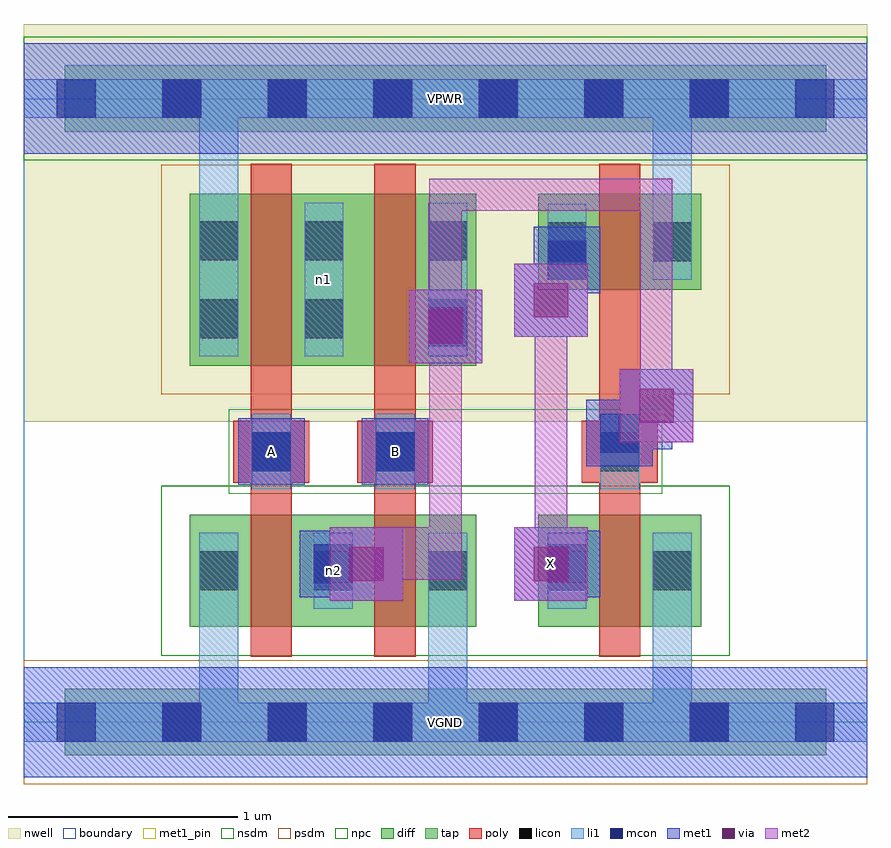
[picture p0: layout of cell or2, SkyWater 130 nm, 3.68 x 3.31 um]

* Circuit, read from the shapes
.subckt or2 A B VGND VPWR X n1 n2
XM1 n2 A VGND VGND sky130_fd_pr__nfet_01v8 w=0.49 l=0.18
XM2 VGND B n2 VGND sky130_fd_pr__nfet_01v8 w=0.49 l=0.18
XM3 VGND n2 X VGND sky130_fd_pr__nfet_01v8 w=0.49 l=0.18
XM4 n1 A VPWR VPWR sky130_fd_pr__pfet_01v8 w=0.75 l=0.18
XM5 n2 B n1 VPWR sky130_fd_pr__pfet_01v8 w=0.75 l=0.18
XM6 VPWR n2 X VPWR sky130_fd_pr__pfet_01v8 w=0.42 l=0.18
.ends

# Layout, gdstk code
import gdstk
lib = gdstk.Library(unit=1e-6, precision=1e-09)
def R(c, l, rs):  # rectangles x0, y0, x1, y1
    for r in rs: c.add(gdstk.rectangle(r[:2], r[2:], *l))
def A(c, l, x, y, w, h, nx, ny, dx, dy):  # array of equal rectangles
    R(c, l, [(x+i*dx, y+j*dy, x+i*dx+w, y+j*dy+h) for i in range(nx) for j in range(ny)])
nwell = (64, 20)
diff = (65, 20)
tap = (65, 44)
poly = (66, 20)
licon = (66, 44)
li1 = (67, 20)
mcon = (67, 44)
met1_pin = (68, 16)
met1 = (68, 20)
via = (68, 44)
met2 = (69, 20)
nsdm = (93, 44)
psdm = (94, 20)
npc = (95, 20)
boundary = (235, 4)

or2 = lib.new_cell('or2')
R(or2, nwell, [(0,1.31,3.68,3.045)])
R(or2, diff, [(0.725,0.415,1.975,0.905), (2.245,0.415,2.955,0.905), (0.725,1.555,1.975,2.305), (2.245,1.885,2.955,2.305)])
R(or2, tap, [(0.18,-0.145,3.5,0.145), (0.18,2.575,3.5,2.865)])
R(or2, poly, [(0.99,0.285,1.17,2.435), (1.53,0.285,1.71,2.435), (2.51,0.285,2.69,2.435), (0.915,1.045,1.245,1.315), (1.455,1.045,1.785,1.315), (2.435,1.045,2.765,1.315)])
A(or2, licon, 0.605, -0.085, 0.17, 0.17, 6, 2, 0.46, 2.72)
A(or2, licon, 0.765, 0.575, 0.17, 0.17, 3, 1, 0.5, 0)
R(or2, licon, [(2.285,0.575,2.455,0.745), (2.745,0.575,2.915,0.745), (0.995,1.095,1.165,1.265), (1.535,1.095,1.705,1.265), (2.515,1.095,2.685,1.265), (0.765,1.675,0.935,1.845), (1.225,1.675,1.395,1.845), (1.765,1.675,1.935,1.845), (2.285,2.01,2.455,2.18), (2.745,2.01,2.915,2.18), (0.765,2.015,0.935,2.185), (1.225,2.015,1.395,2.185), (1.765,2.015,1.935,2.185)])
A(or2, li1, 0.765, 0.495, 0.17, 0.33, 3, 1, 0.5, 0)
R(or2, li1, [(0,-0.085,3.68,0.085), (0.765,-0.085,0.935,0.825), (1.765,-0.085,1.935,0.825), (2.745,-0.085,2.915,0.825), (2.285,0.495,2.455,0.825), (2.745,0.495,2.915,0.825), (0.995,1.015,1.165,1.345), (1.535,1.015,1.705,1.345), (2.515,1.015,2.685,1.345), (0.765,1.595,0.935,2.265), (0.765,1.595,0.935,2.805), (1.225,1.595,1.395,2.265), (1.765,1.595,1.935,2.265), (2.285,1.93,2.455,2.26), (2.745,1.93,2.915,2.26), (2.745,1.93,2.915,2.805), (0,2.635,3.68,2.805)])
A(or2, mcon, 0.145, -0.085, 0.17, 0.17, 8, 2, 0.46, 2.72)
R(or2, mcon, [(1.265,0.605,1.435,0.775), (2.285,0.605,2.455,0.775), (0.995,1.095,1.165,1.265), (1.535,1.095,1.705,1.265), (2.515,1.175,2.685,1.345), (1.765,1.64,1.935,1.81), (2.285,1.93,2.455,2.1)])
R(or2, met1_pin, [(0,-0.24,3.68,0.24), (2.14,0.53,2.46,0.85), (0.935,1.035,1.225,1.325), (1.475,1.035,1.765,1.325), (0,2.48,3.68,2.96)])
R(or2, met1, [(0,-0.24,3.68,0.24), (1.335,0.53,1.655,0.85), (2.14,0.53,2.46,0.85), (1.205,0.545,1.495,0.835), (2.225,0.545,2.515,0.835), (1.28,0.62,1.565,0.76), (2.23,0.62,2.44,0.76), (0.935,1.035,1.225,1.325), (1.475,1.035,1.765,1.325), (2.455,1.115,2.745,1.405), (2.53,1.19,2.83,1.33), (2.69,1.19,2.83,1.45), (2.6,1.22,2.92,1.54), (1.68,1.565,2,1.885), (1.705,1.58,1.995,1.87), (1.77,1.655,1.92,1.795), (2.14,1.68,2.46,2), (2.23,1.77,2.37,2.085), (2.225,1.87,2.515,2.16), (2.23,1.945,2.44,2.085), (0,2.48,3.68,2.96)])
R(or2, via, [(1.42,0.615,1.57,0.765), (2.225,0.615,2.375,0.765), (2.685,1.305,2.835,1.455), (1.765,1.65,1.915,1.8), (2.225,1.765,2.375,1.915)])
R(or2, met2, [(1.335,0.53,1.655,0.85), (2.14,0.53,2.46,0.85), (1.425,0.62,1.91,0.76), (1.655,0.62,1.77,0.85), (1.77,0.62,1.91,1.795), (2.23,0.62,2.37,1.91), (2.6,1.22,2.92,1.54), (2.69,1.31,2.83,2.37), (1.68,1.565,2,1.885), (1.77,1.655,1.91,2.37), (2.14,1.68,2.46,2), (1.77,2.23,2.83,2.37)])
R(or2, nsdm, [(0.6,0.29,3.08,1.03), (0,2.45,3.68,2.99)])
R(or2, psdm, [(0,-0.27,3.68,0.27), (0.6,1.43,3.08,2.43)])
R(or2, npc, [(0.895,0.995,2.785,1.365)])
R(or2, boundary, [(0,0,3.68,2.72)])
or2.add(gdstk.Label('n2', (1.35,0.66), layer=67, texttype=5))
or2.add(gdstk.Label('n1', (1.31,1.93), layer=67, texttype=5))
or2.add(gdstk.Label('A', (1.08,1.18), layer=68, texttype=5))
or2.add(gdstk.Label('B', (1.62,1.18), layer=68, texttype=5))
or2.add(gdstk.Label('X', (2.3,0.69), layer=68, texttype=5))
or2.add(gdstk.Label('VPWR', (1.84,2.72), layer=68, texttype=5))
or2.add(gdstk.Label('VGND', (1.84,0), layer=68, texttype=5))
or2.add(gdstk.Label('A', (1.08,1.18), layer=68, texttype=16))
or2.add(gdstk.Label('B', (1.62,1.18), layer=68, texttype=16))
or2.add(gdstk.Label('X', (2.3,0.69), layer=68, texttype=16))
or2.add(gdstk.Label('VPWR', (1.84,2.72), layer=68, texttype=16))
or2.add(gdstk.Label('VGND', (1.84,0), layer=68, texttype=16))

lib.write_gds('or2.gds')
